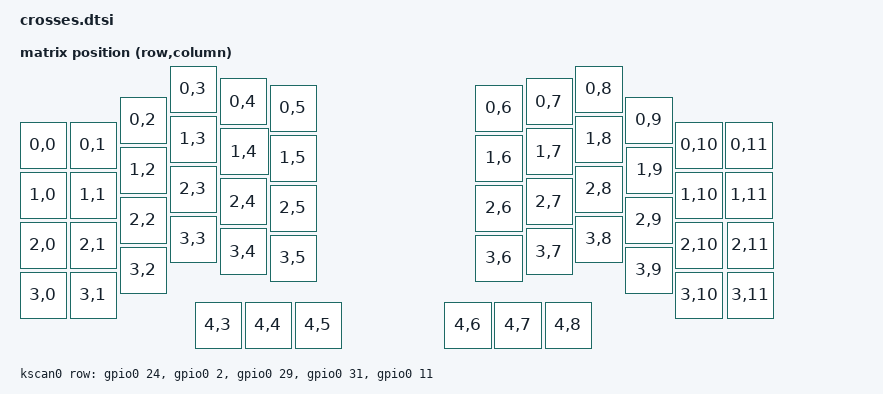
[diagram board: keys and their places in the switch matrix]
/*
 * Copyright (c) 2025 Vincent Franco
 * SPDX-License-Identifier: MIT
 */
#include <dt-bindings/zmk/matrix_transform.h>
#include <dt-bindings/zmk/input_transform.h>
#include <input/processors.dtsi>
#include <input/processors/report_rate_limit.dtsi>
#include <behaviors/rate_limit.dtsi>
#include <physical_layouts.dtsi>


/ {
    chosen {
        zmk,kscan = &kscan0;
    };

    // 54-key (4x6 + 3 thumb per half) matrix transform (official Crosses 54)
    default_transform: keymap_transform_0 {
        compatible = "zmk,matrix-transform";
        columns = <12>;
        rows = <5>;
        map = <
RC(0,0) RC(0,1) RC(0,2) RC(0,3) RC(0,4) RC(0,5)       RC(0,6) RC(0,7) RC(0,8) RC(0,9) RC(0,10) RC(0,11)
RC(1,0) RC(1,1) RC(1,2) RC(1,3) RC(1,4) RC(1,5)       RC(1,6) RC(1,7) RC(1,8) RC(1,9) RC(1,10) RC(1,11)
RC(2,0) RC(2,1) RC(2,2) RC(2,3) RC(2,4) RC(2,5)       RC(2,6) RC(2,7) RC(2,8) RC(2,9) RC(2,10) RC(2,11)
RC(3,0) RC(3,1) RC(3,2) RC(3,3) RC(3,4) RC(3,5)       RC(3,6) RC(3,7) RC(3,8) RC(3,9) RC(3,10) RC(3,11)
                        RC(4,3) RC(4,4) RC(4,5)       RC(4,6) RC(4,7) RC(4,8)
        >;
    };

    kscan0: kscan {
        compatible = "zmk,kscan-gpio-matrix";
        diode-direction = "row2col";
        wakeup-source;

        // 5 rows: row0 = number row (added vs the 36 build)
        row-gpios
            = <&gpio0 24 GPIO_ACTIVE_HIGH>
            , <&gpio0 2 GPIO_ACTIVE_HIGH>
            , <&gpio0 29 GPIO_ACTIVE_HIGH>
            , <&gpio0 31 GPIO_ACTIVE_HIGH>
            , <&gpio0 11 GPIO_ACTIVE_HIGH>
            ;
    };

    behaviors {
        rrl {
            #binding-cells = <1>;
            values-ms = <8 6 4 2>;
        };
    };

    //left hand trackball
    split_inputs {
        #address-cells = <1>;
        #size-cells = <0>;

        trackball_peripheral_split: trackball_peripheral_split@0 {
            compatible = "zmk,input-split";
            reg = <0>;
        };
    };

    trackball_peripheral_listener: trackball_peripheral_listener {
        compatible = "zmk,input-listener";
        status = "disabled";
        device = <&trackball_peripheral_split>;
    };

    //right hand trackball
    trackball_central_listener: trackball_central_listener {
        compatible = "zmk,input-listener";
        status = "disabled";
    };

    // Physical layout required by ZMK Studio. 54 keys, order matches the
    // matrix-transform map / keymap binding order (official Crosses 54 layout).
    physical_layout0: physical_layout_0 {
        compatible = "zmk,physical-layout";
        display-name = "Crosses 54";
        transform = <&default_transform>;
        keys  //                     w   h    x    y     rot   rx   ry
            = <&key_physical_attrs 100 100    0  112       0     0     0>
            , <&key_physical_attrs 100 100  100  112       0     0     0>
            , <&key_physical_attrs 100 100  200   62       0     0     0>
            , <&key_physical_attrs 100 100  300    0       0     0     0>
            , <&key_physical_attrs 100 100  400   25       0     0     0>
            , <&key_physical_attrs 100 100  500   38       0     0     0>
            , <&key_physical_attrs 100 100  912   38       0     0     0>
            , <&key_physical_attrs 100 100 1012   25       0     0     0>
            , <&key_physical_attrs 100 100 1112    0       0     0     0>
            , <&key_physical_attrs 100 100 1212   62       0     0     0>
            , <&key_physical_attrs 100 100 1312  112       0     0     0>
            , <&key_physical_attrs 100 100 1412  112       0     0     0>
            , <&key_physical_attrs 100 100    0  212       0     0     0>
            , <&key_physical_attrs 100 100  100  212       0     0     0>
            , <&key_physical_attrs 100 100  200  162       0     0     0>
            , <&key_physical_attrs 100 100  300  100       0     0     0>
            , <&key_physical_attrs 104 100  400  125       0     0     0>
            , <&key_physical_attrs 100 100  500  138       0     0     0>
            , <&key_physical_attrs 100 100  912  138       0     0     0>
            , <&key_physical_attrs 100 100 1012  125       0     0     0>
            , <&key_physical_attrs 100 100 1112  100       0     0     0>
            , <&key_physical_attrs 100 100 1213  162       0     0     0>
            , <&key_physical_attrs 100 100 1312  212       0     0     0>
            , <&key_physical_attrs 100 100 1412  212       0     0     0>
            , <&key_physical_attrs 100 100    0  312       0     0     0>
            , <&key_physical_attrs 100 100  100  312       0     0     0>
            , <&key_physical_attrs 100 100  200  262       0     0     0>
            , <&key_physical_attrs 100 100  300  200       0     0     0>
            , <&key_physical_attrs 100 100  400  225       0     0     0>
            , <&key_physical_attrs 100 100  500  238       0     0     0>
            , <&key_physical_attrs 100 100  912  238       0     0     0>
            , <&key_physical_attrs 100 100 1012  225       0     0     0>
            , <&key_physical_attrs 100 100 1112  200       0     0     0>
            , <&key_physical_attrs 100 100 1212  262       0     0     0>
            , <&key_physical_attrs 100 100 1312  312       0     0     0>
            , <&key_physical_attrs 100 100 1415  312       0     0     0>
            , <&key_physical_attrs 100 100    0  412       0     0     0>
            , <&key_physical_attrs 100 100  100  412       0     0     0>
            , <&key_physical_attrs 100 100  200  362       0     0     0>
            , <&key_physical_attrs 100 100  300  300       0     0     0>
            , <&key_physical_attrs 100 100  400  325       0     0     0>
            , <&key_physical_attrs 100 100  500  338       0     0     0>
            , <&key_physical_attrs 100 100  912  338       0     0     0>
            , <&key_physical_attrs 100 100 1012  325       0     0     0>
            , <&key_physical_attrs 100 100 1112  300       0     0     0>
            , <&key_physical_attrs 100 100 1212  362       0     0     0>
            , <&key_physical_attrs 100 100 1312  412       0     0     0>
            , <&key_physical_attrs 100 100 1415  412       0     0     0>
            , <&key_physical_attrs 100 100  350  472       0     0     0>
            , <&key_physical_attrs 100 100  450  472       0     0     0>
            , <&key_physical_attrs 100 100  550  472       0     0     0>
            , <&key_physical_attrs 100 100  850  472       0     0     0>
            , <&key_physical_attrs 100 100  950  472       0     0     0>
            , <&key_physical_attrs 100 100 1050  472       0     0     0>
            ;
    };
};
